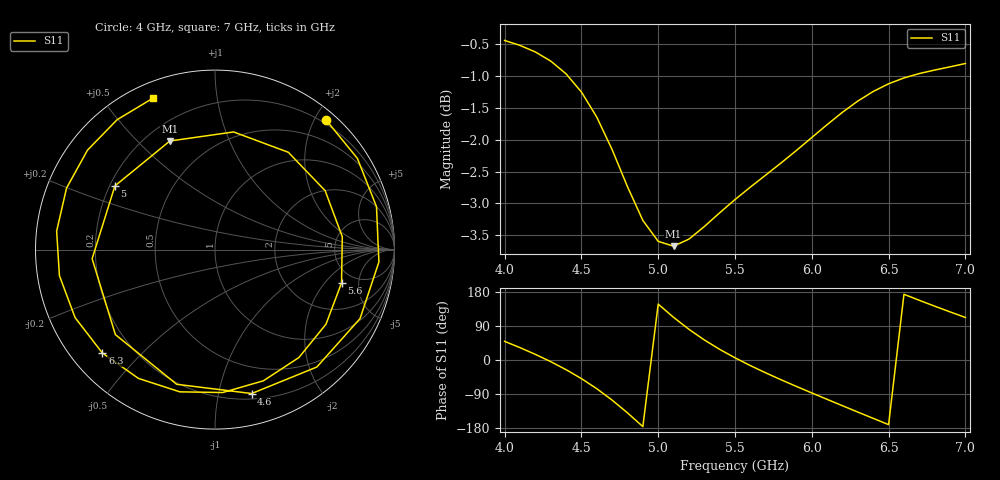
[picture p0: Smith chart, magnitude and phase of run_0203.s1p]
! Touchstone file exported from HFSS 2024.2.0
!  File:  C:/Users/wsak9/Desktop/Sim Fast/Widenad Patch/WP_AI_V1_sweep.aedt
!  Generated:  11:26:24 PM Oct 13, 2026
!  Design:  A1_model
!  Project:  WP_AI_V1_sweep
!  Setup:  Setup1
!  Solution:  Sweep
! Variables:
!  Air_gap = 3.86mm
!  Curve_Amp1 = 0.61
!  Curve_len1 = 1
!  Curve_pos = 11.825mm
!  Extra = 5.04mm
!  H_sub = 0.79mm
!  L_Patch = 19.65mm
!  L_Patch1 = 14.2mm
!  Sx = 4.21mm
!  Sy = 2.88mm
!  WS = 1.23mm
!  W_Patch = 11.35mm
!  W_Patch1 = 9.16mm
!Data is not renormalized
# GHz S MA
! Terminal data exported
! Port[1] = 1
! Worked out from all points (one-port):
!   31 points, 4 GHz to 7 GHz, reference per port
!   lowest |S11| = -3.7 dB at 5.1 GHz (marker M1), VSWR 4.80
!   |S11| at or under -10 dB: nowhere
!   S11 on the Smith chart (normalised r, x): 4 GHz: 0.15, +2.18; 4.6 GHz: 0.25, -1.26; 5 GHz: 0.22, +0.28; 5.6 GHz: 3.86, -3.06; 6.3 GHz: 0.09, -0.39; 7 GHz: 0.07, +0.67
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4  0.9505 49.2
4.1  0.9421 32.6
4.2  0.931 14.9
4.3  0.9158 -4.3
4.4  0.8949 -25.5
4.5  0.866 -49.1
4.6  0.8275 -75.7
4.7  0.7802 -105.9
4.8  0.7296 -139.5
4.9  0.6865 -175.7
5  0.6609 147.5
5.1  0.6552 112.6
5.2  0.6636 81.0
5.3  0.6788 53.0
5.4  0.6959 28.2
5.5  0.7128 5.8
5.6  0.7291 -14.7
5.7  0.7451 -33.9
5.9  0.7791 -69.7
6  0.7975 -86.9
6.1  0.8163 -103.9
6.2  0.8348 -120.7
6.3  0.8519 -137.5
6.5  0.8789 -170.5
6.6  0.8882 173.3
6.7  0.8953 157.5
6.9  0.9062 127.0
7  0.9117 112.3
